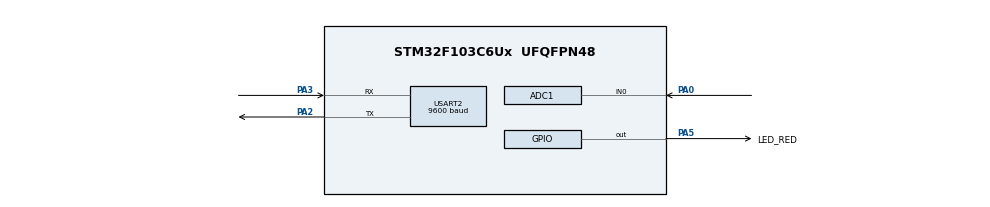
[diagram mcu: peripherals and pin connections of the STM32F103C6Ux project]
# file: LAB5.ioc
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ADC1.Channel-0\#ChannelRegularConversion=ADC_CHANNEL_0
ADC1.ContinuousConvMode=ENABLE
ADC1.NbrOfConversionFlag=1
ADC1.Rank-0\#ChannelRegularConversion=1
ADC1.SamplingTime-0\#ChannelRegularConversion=ADC_SAMPLETIME_1CYCLE_5
ADC1.master=1
Mcu.Family=STM32F1
Mcu.Name=STM32F103C6Ux
Mcu.Package=UFQFPN48
NVIC.PriorityGroup=NVIC_PRIORITYGROUP_4
NVIC.TIM2_IRQn=true\:0\:0\:false\:false\:true\:true\:true
NVIC.USART2_IRQn=true\:0\:0\:false\:false\:true\:true\:true
PA0-WKUP.Signal=ADCx_IN0
PA2.Mode=Asynchronous
PA2.Signal=USART2_TX
PA3.Mode=Asynchronous
PA3.Signal=USART2_RX
PA5.GPIO_Label=LED_RED
PA5.Signal=GPIO_Output
ProjectManager.HeapSize=0x200
ProjectManager.StackSize=0x400
ProjectManager.TargetToolchain=STM32CubeIDE
RCC.APB1Freq_Value=8000000
RCC.APB2Freq_Value=8000000
SH.ADCx_IN0.0=ADC1_IN0,IN0
TIM2.Period=9
TIM2.Prescaler=7999
USART2.BaudRate=9600
USART2.VirtualMode=VM_ASYNC
VP_SYS_VS_ND.Mode=No_Debug
VP_TIM2_VS_ClockSourceINT.Mode=Internal
board=custom

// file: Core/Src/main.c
/* USER CODE BEGIN Header */
/**
  ******************************************************************************
  * @file           : main.c
  * @brief          : Main program body
  ******************************************************************************
  * @attention
  *
  * <h2><center>&copy; Copyright (c) 2023 STMicroelectronics.
  * All rights reserved.</center></h2>
  *
  * This software component is licensed by ST under BSD 3-Clause license,
  * the "License"; You may not use this file except in compliance with the
  * License. You may obtain a copy of the License at:
  *                        opensource.org/licenses/BSD-3-Clause
  *
  ******************************************************************************
  */
/* USER CODE END Header */
#include "main.h"

/* USER CODE BEGIN Includes */
#include "global.h"
/* USER CODE END Includes */

ADC_HandleTypeDef hadc1;

TIM_HandleTypeDef htim2;

UART_HandleTypeDef huart2;

void SystemClock_Config(void);
static void MX_GPIO_Init(void);
static void MX_TIM2_Init(void);
static void MX_ADC1_Init(void);
static void MX_USART2_UART_Init(void);

/* USER CODE BEGIN 0 */
void HAL_UART_RxCpltCallback(UART_HandleTypeDef *huart) {
    if (huart->Instance == USART2) {
        buffer[index_buffer++] = temp;
        if (index_buffer == MAX_BUFFER_SIZE)
            index_buffer = 0;

        buffer_flag = 1;

        HAL_UART_Transmit(&huart2, &temp, 1, 50);
        HAL_UART_Receive_IT(&huart2, &temp, 1);
    }
}

void getTimer(){
	timerRun();
}

void led1test() {
    HAL_GPIO_TogglePin(LED_RED_GPIO_Port, LED_RED_Pin);
}

void fsmRun() {
    if (buffer_flag == 1) {
        command_parser_fsm();
        buffer_flag = 0;
    }

    uart_communication_fsm();
}
/* USER CODE END 0 */

int main(void)
{

  /* MCU Configuration--------------------------------------------------------*/

  /* Reset of all peripherals, Initializes the Flash interface and the Systick. */
  HAL_Init();

  /* Configure the system clock */
  SystemClock_Config();

  /* Initialize all configured peripherals */
  MX_GPIO_Init();
  MX_TIM2_Init();
  MX_ADC1_Init();
  MX_USART2_UART_Init();
  /* USER CODE BEGIN 2 */
  HAL_TIM_Base_Start_IT(&htim2);
  HAL_UART_Receive_IT (&huart2 , &temp , 1) ;
  HAL_ADC_Start(&hadc1);
  /* USER CODE END 2 */

  SCH_Init();

  SCH_Add_Task(getTimer, 0, 10);
  SCH_Add_Task(led1test,0,500);
  SCH_Add_Task(fsmRun, 0, 10);

  /* Infinite loop */
  while (1)
  {
	  SCH_Dispatch_Tasks();
  }
}

void SystemClock_Config(void)
{
  RCC_OscInitTypeDef RCC_OscInitStruct = {0};
  RCC_ClkInitTypeDef RCC_ClkInitStruct = {0};
  RCC_PeriphCLKInitTypeDef PeriphClkInit = {0};

  /** Initializes the RCC Oscillators according to the specified parameters
  * in the RCC_OscInitTypeDef structure.
  */
  RCC_OscInitStruct.OscillatorType = RCC_OSCILLATORTYPE_HSI;
  RCC_OscInitStruct.HSIState = RCC_HSI_ON;
  RCC_OscInitStruct.HSICalibrationValue = RCC_HSICALIBRATION_DEFAULT;
  RCC_OscInitStruct.PLL.PLLState = RCC_PLL_NONE;
  if (HAL_RCC_OscConfig(&RCC_OscInitStruct) != HAL_OK)
  {
    Error_Handler();
  }
  /** Initializes the CPU, AHB and APB buses clocks
  */
  RCC_ClkInitStruct.ClockType = RCC_CLOCKTYPE_HCLK|RCC_CLOCKTYPE_SYSCLK
                              |RCC_CLOCKTYPE_PCLK1|RCC_CLOCKTYPE_PCLK2;
  RCC_ClkInitStruct.SYSCLKSource = RCC_SYSCLKSOURCE_HSI;
  RCC_ClkInitStruct.AHBCLKDivider = RCC_SYSCLK_DIV1;
  RCC_ClkInitStruct.APB1CLKDivider = RCC_HCLK_DIV1;
  RCC_ClkInitStruct.APB2CLKDivider = RCC_HCLK_DIV1;

  if (HAL_RCC_ClockConfig(&RCC_ClkInitStruct, FLASH_LATENCY_0) != HAL_OK)
  {
    Error_Handler();
  }
  PeriphClkInit.PeriphClockSelection = RCC_PERIPHCLK_ADC;
  PeriphClkInit.AdcClockSelection = RCC_ADCPCLK2_DIV2;
  if (HAL_RCCEx_PeriphCLKConfig(&PeriphClkInit) != HAL_OK)
  {
    Error_Handler();
  }
}

static void MX_ADC1_Init(void)
{

  ADC_ChannelConfTypeDef sConfig = {0};

  /** Common config
  */
  hadc1.Instance = ADC1;
  hadc1.Init.ScanConvMode = ADC_SCAN_DISABLE;
  hadc1.Init.ContinuousConvMode = ENABLE;
  hadc1.Init.DiscontinuousConvMode = DISABLE;
  hadc1.Init.ExternalTrigConv = ADC_SOFTWARE_START;
  hadc1.Init.DataAlign = ADC_DATAALIGN_RIGHT;
  hadc1.Init.NbrOfConversion = 1;
  if (HAL_ADC_Init(&hadc1) != HAL_OK)
  {
    Error_Handler();
  }
  /** Configure Regular Channel
  */
  sConfig.Channel = ADC_CHANNEL_0;
  sConfig.Rank = ADC_REGULAR_RANK_1;
  sConfig.SamplingTime = ADC_SAMPLETIME_1CYCLE_5;
  if (HAL_ADC_ConfigChannel(&hadc1, &sConfig) != HAL_OK)
  {
    Error_Handler();
  }

}

static void MX_TIM2_Init(void)
{

  TIM_ClockConfigTypeDef sClockSourceConfig = {0};
  TIM_MasterConfigTypeDef sMasterConfig = {0};

  htim2.Instance = TIM2;
  htim2.Init.Prescaler = 7999;
  htim2.Init.CounterMode = TIM_COUNTERMODE_UP;
  htim2.Init.Period = 9;
  htim2.Init.ClockDivision = TIM_CLOCKDIVISION_DIV1;
  htim2.Init.AutoReloadPreload = TIM_AUTORELOAD_PRELOAD_DISABLE;
  if (HAL_TIM_Base_Init(&htim2) != HAL_OK)
  {
    Error_Handler();
  }
  sClockSourceConfig.ClockSource = TIM_CLOCKSOURCE_INTERNAL;
  if (HAL_TIM_ConfigClockSource(&htim2, &sClockSourceConfig) != HAL_OK)
  {
    Error_Handler();
  }
  sMasterConfig.MasterOutputTrigger = TIM_TRGO_RESET;
  sMasterConfig.MasterSlaveMode = TIM_MASTERSLAVEMODE_DISABLE;
  if (HAL_TIMEx_MasterConfigSynchronization(&htim2, &sMasterConfig) != HAL_OK)
  {
    Error_Handler();
  }

}

static void MX_USART2_UART_Init(void)
{

  huart2.Instance = USART2;
  huart2.Init.BaudRate = 9600;
  huart2.Init.WordLength = UART_WORDLENGTH_8B;
  huart2.Init.StopBits = UART_STOPBITS_1;
  huart2.Init.Parity = UART_PARITY_NONE;
  huart2.Init.Mode = UART_MODE_TX_RX;
  huart2.Init.HwFlowCtl = UART_HWCONTROL_NONE;
  huart2.Init.OverSampling = UART_OVERSAMPLING_16;
  if (HAL_UART_Init(&huart2) != HAL_OK)
  {
    Error_Handler();
  }

}

static void MX_GPIO_Init(void)
{
  GPIO_InitTypeDef GPIO_InitStruct = {0};

  /* GPIO Ports Clock Enable */
  __HAL_RCC_GPIOA_CLK_ENABLE();

  /*Configure GPIO pin Output Level */
  HAL_GPIO_WritePin(LED_RED_GPIO_Port, LED_RED_Pin, GPIO_PIN_RESET);

  /*Configure GPIO pin : LED_RED_Pin */
  GPIO_InitStruct.Pin = LED_RED_Pin;
  GPIO_InitStruct.Mode = GPIO_MODE_OUTPUT_PP;
  GPIO_InitStruct.Pull = GPIO_NOPULL;
  GPIO_InitStruct.Speed = GPIO_SPEED_FREQ_LOW;
  HAL_GPIO_Init(LED_RED_GPIO_Port, &GPIO_InitStruct);

}

/* USER CODE BEGIN 4 */
void HAL_TIM_PeriodElapsedCallback(TIM_HandleTypeDef * htim)
{
	SCH_Update();
}
/* USER CODE END 4 */

void Error_Handler(void)
{
  __disable_irq();
  while (1)
  {
  }
}

/************************ (C) COPYRIGHT STMicroelectronics *****END OF FILE****/
